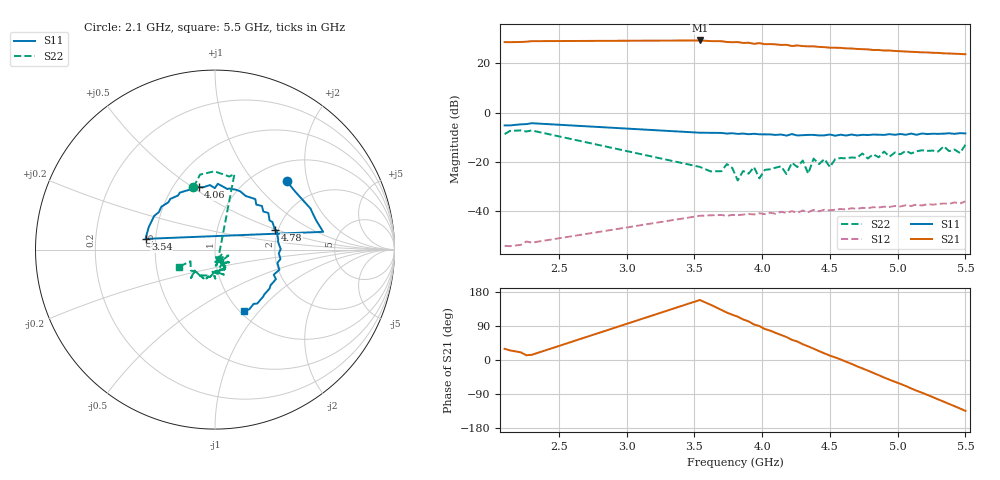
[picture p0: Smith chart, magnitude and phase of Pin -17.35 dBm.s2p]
! RsaToolbox (C) 2015 Rohde & Schwarz America
! Number of points: 53
! Number of ports: 2
! Balanced ports?: No
# Hz S RI R 50
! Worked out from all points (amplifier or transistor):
!   53 points, 2.1 GHz to 5.5 GHz, reference 50 ohm
!   highest |S21| = 29.3 dB at 3.54 GHz (marker M1)
!   |S21| within 3 dB of that: start of sweep to 4.575 GHz
!   unconditionally stable (mu >= 1): start of sweep to end of sweep
!   at 3.74 GHz: K = 2.09, MAG = 29.4 dB, |S12| = -41.9 dB
!   at 4.46 GHz: K = 1.98, MAG = 27.3 dB, |S12| = -39.4 dB
!   at 5.5 GHz: K = 1.74, MAG = 24.8 dB, |S12| = -36.0 dB
!   S11 on the Smith chart (normalised r, x): 2.1 GHz: 1.38, +1.51; 3.54 GHz: 0.44, +0.06; 4.06 GHz: 0.66, +0.53; 4.78 GHz: 1.92, +0.49; 5.5 GHz: 1.05, -0.84
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2.1e9  0.4008 0.3799  23.53 13.31  -0.000409 -0.00194  -0.1204 0.3466
2.22e9  0.5319 0.2289  25.48 9.365  -0.00048 -0.00202  -0.00313 0.436
2.26e9  0.5605 0.1682  26.88 5.986  -0.000734 -0.00232  0.0798 0.4071
2.3e9  0.6025 0.0989  27.46 6.656  -0.000593 -0.00222  0.1083 0.4212
3.54e9  -0.3872 0.0598  -27.12 10.79  -0.00161 0.00791  0.0128 -0.0782
3.7e9  -0.3389 0.1876  -18.85 20.92  0.0011 0.0083  0.0213 -0.0612
3.82e9  -0.2605 0.2628  -11.16 24.66  0.00291 0.0078  0.00548 -0.0416
3.9e9  -0.2058 0.3016  -5.474 25.67  0.00436 0.00763  0.0186 -0.0547
3.94e9  -0.1961 0.3174  -1.632 24.89  0.00516 0.00684  0.033 -0.0714
3.98e9  -0.146 0.3326  0.1931 25.76  0.00571 0.00706  0.0398 -0.0239
4.06e9  -0.091 0.3501  5.349 24.08  0.00696 0.00616  0.0505 -0.0501
4.18e9  -0.00119 0.3423  11.72 20.75  0.00823 0.00411  5e-05 -0.0567
4.22e9  0.0156 0.3668  13.45 18.02  0.00936 0.0037  0.0623 -0.0736
4.26e9  0.0693 0.3373  15.25 17.36  0.00878 0.00297  0.0296 -0.0728
4.38e9  0.1407 0.3246  19.23 11.03  0.0106 0.000637  0.0534 -0.1041
4.58e9  0.2613 0.2432  20.64 0.4767  0.0106 -0.00332  0.0569 -0.1057
4.78e9  0.3333 0.1113  16.98 -9.031  0.00828 -0.00802  0.00887 -0.1169
4.94e9  0.3661 0.00218  11.24 -14.37  0.00592 -0.0107  -0.00644 -0.1277
5.1e9  0.3587 -0.1127  4.453 -16.59  0.00266 -0.0125  -0.0284 -0.1459
5.22e9  0.3098 -0.1983  -0.6323 -16.66  -0.00114 -0.0139  -0.0835 -0.1451
5.38e9  0.2356 -0.3006  -6.954 -14.29  -0.00561 -0.013  -0.1118 -0.122
5.5e9  0.1643 -0.3416  -10.66 -10.94  -0.00909 -0.0129  -0.201 -0.0957
